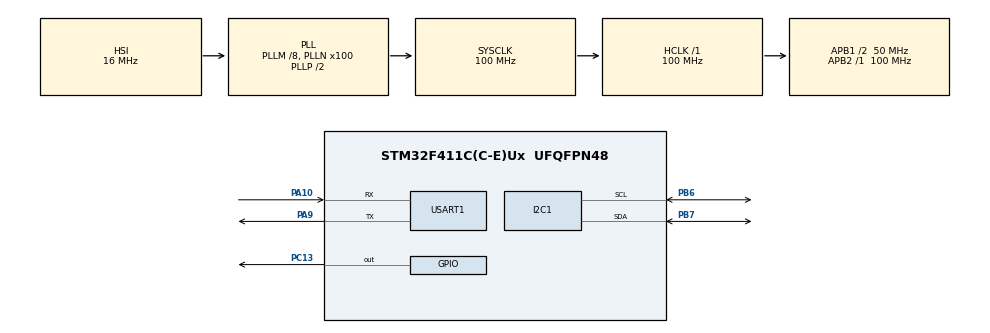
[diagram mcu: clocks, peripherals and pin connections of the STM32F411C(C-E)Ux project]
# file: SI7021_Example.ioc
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Mcu.Family=STM32F4
Mcu.Name=STM32F411C(C-E)Ux
Mcu.Package=UFQFPN48
NVIC.PriorityGroup=NVIC_PRIORITYGROUP_4
PA10.Mode=Asynchronous
PA10.Signal=USART1_RX
PA13.Mode=Serial_Wire
PA13.Signal=SYS_JTMS-SWDIO
PA14.Mode=Serial_Wire
PA14.Signal=SYS_JTCK-SWCLK
PA9.Mode=Asynchronous
PA9.Signal=USART1_TX
PB6.Mode=I2C
PB6.Signal=I2C1_SCL
PB7.Mode=I2C
PB7.Signal=I2C1_SDA
PC13-ANTI_TAMP.Signal=GPIO_Output
PH0\ -\ OSC_IN.Mode=HSE-External-Oscillator
PH0\ -\ OSC_IN.Signal=RCC_OSC_IN
PH1\ -\ OSC_OUT.Mode=HSE-External-Oscillator
PH1\ -\ OSC_OUT.Signal=RCC_OSC_OUT
ProjectManager.HeapSize=0x200
ProjectManager.StackSize=0x400
ProjectManager.TargetToolchain=STM32CubeIDE
RCC.48MHZClocksFreq_Value=50000000
RCC.AHBFreq_Value=100000000
RCC.APB1CLKDivider=RCC_HCLK_DIV2
RCC.APB1Freq_Value=50000000
RCC.APB1TimFreq_Value=100000000
RCC.APB2Freq_Value=100000000
RCC.APB2TimFreq_Value=100000000
RCC.CortexFreq_Value=100000000
RCC.HCLKFreq_Value=100000000
RCC.HSE_VALUE=25000000
RCC.HSI_VALUE=16000000
RCC.LSE_VALUE=32768
RCC.PLLM=8
RCC.PLLN=100
RCC.SYSCLKFreq_VALUE=100000000
RCC.SYSCLKSource=RCC_SYSCLKSOURCE_PLLCLK
RCC.VCOOutputFreq_Value=200000000
USART1.VirtualMode=VM_ASYNC
board=custom

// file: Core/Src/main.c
/* USER CODE BEGIN Header */
/**
  ******************************************************************************
  * @file           : main.c
  * @brief          : Main program body
  ******************************************************************************
  * @attention
  *
  * Copyright (c) 2026 STMicroelectronics.
  * All rights reserved.
  *
  * This software is licensed under terms that can be found in the LICENSE file
  * in the root directory of this software component.
  * If no LICENSE file comes with this software, it is provided AS-IS.
  *
  ******************************************************************************
  */
/* USER CODE END Header */
#include "main.h"

/* USER CODE BEGIN Includes */
#include "SI7021.h"
#include "ANSII_Codes.h"
#include <stdio.h>
#include <stdlib.h>
/* USER CODE END Includes */

/* USER CODE BEGIN PD */
/* -- Parámetros de la batería de pruebas -- */
#define SI_MUESTRAS     10U        /**< Lecturas seguidas del test de muestras */
#define SI_SENTINEL     1000.0f    /**< Valor fuera de rango para detectar campos que Get no escribió */

/* Rango plausible: el de funcionamiento del sensor (la fórmula del datasheet puede pasarse un poco de 0-100 %HR) */
#define SI_TEMP_MIN     (-40.0f)
#define SI_TEMP_MAX     (125.0f)
#define SI_HUM_MIN      (-2.0f)
#define SI_HUM_MAX      (102.0f)
/* USER CODE END PD */

/* USER CODE BEGIN PM */
#define SI_CHECK(x)  do { if ((x) != SI7021_OK) { Error_Handler(); } } while (0)
/* Para los tests de error: la llamada debe devolver exactamente el estado esperado */
#define SI_EXPECT(x, st)  do { if ((x) != (st)) { Error_Handler(); } } while (0)

/* USER CODE END PM */

I2C_HandleTypeDef hi2c1;

UART_HandleTypeDef huart1;

/* USER CODE BEGIN PV */
SI7021_Status_t status;
/* USER CODE END PV */

void SystemClock_Config(void);
static void MX_GPIO_Init(void);
static void MX_I2C1_Init(void);
static void MX_USART1_UART_Init(void);
/* USER CODE BEGIN PFP */
static void SI7021_CheckData(const SI7021_Data_t* d);
static void SI7021_CheckSinTocar(const SI7021_Data_t* d);
static void SI7021_Print(const SI7021_Data_t* d);
static void SI7021_TestSuite(void);
static void SI7021_TestPreInit(void);
static void SI7021_TestLectura(void);
static void SI7021_TestMuestras(void);
static void SI7021_TestErrores(void);
static void SI7021_TestDeInit(void);
/* USER CODE END PFP */

int main(void)
{

  /* MCU Configuration--------------------------------------------------------*/

  /* Reset of all peripherals, Initializes the Flash interface and the Systick. */
  HAL_Init();

  /* Configure the system clock */
  SystemClock_Config();

  /* Initialize all configured peripherals */
  MX_GPIO_Init();
  MX_I2C1_Init();
  MX_USART1_UART_Init();
  /* USER CODE BEGIN 2 */
  printf(CLEAR_SCREEN CURSOR_HOME COLOR_BOLD COLOR_CYAN "SI7021 TEST" COLOR_RESET "\r\n");
  SI7021_TestPreInit();

  status = SI7021_Init(&hi2c1);
  if(status != SI7021_OK)
  {
	  Error_Handler();
  }
  else
  {
	  HAL_GPIO_WritePin(GPIOC, GPIO_PIN_13, GPIO_PIN_RESET);
  }
  /* USER CODE END 2 */

  /* Infinite loop */
  /* USER CODE BEGIN WHILE */
  while (1)
  {
	  SI7021_TestSuite();
    /* USER CODE END WHILE */

  }
}

void SystemClock_Config(void)
{
  RCC_OscInitTypeDef RCC_OscInitStruct = {0};
  RCC_ClkInitTypeDef RCC_ClkInitStruct = {0};

  /** Configure the main internal regulator output voltage
  */
  __HAL_RCC_PWR_CLK_ENABLE();
  __HAL_PWR_VOLTAGESCALING_CONFIG(PWR_REGULATOR_VOLTAGE_SCALE1);

  /** Initializes the RCC Oscillators according to the specified parameters
  * in the RCC_OscInitTypeDef structure.
  */
  RCC_OscInitStruct.OscillatorType = RCC_OSCILLATORTYPE_HSI;
  RCC_OscInitStruct.HSIState = RCC_HSI_ON;
  RCC_OscInitStruct.HSICalibrationValue = RCC_HSICALIBRATION_DEFAULT;
  RCC_OscInitStruct.PLL.PLLState = RCC_PLL_ON;
  RCC_OscInitStruct.PLL.PLLSource = RCC_PLLSOURCE_HSI;
  RCC_OscInitStruct.PLL.PLLM = 8;
  RCC_OscInitStruct.PLL.PLLN = 100;
  RCC_OscInitStruct.PLL.PLLP = RCC_PLLP_DIV2;
  RCC_OscInitStruct.PLL.PLLQ = 4;
  if (HAL_RCC_OscConfig(&RCC_OscInitStruct) != HAL_OK)
  {
    Error_Handler();
  }

  /** Initializes the CPU, AHB and APB buses clocks
  */
  RCC_ClkInitStruct.ClockType = RCC_CLOCKTYPE_HCLK|RCC_CLOCKTYPE_SYSCLK
                              |RCC_CLOCKTYPE_PCLK1|RCC_CLOCKTYPE_PCLK2;
  RCC_ClkInitStruct.SYSCLKSource = RCC_SYSCLKSOURCE_PLLCLK;
  RCC_ClkInitStruct.AHBCLKDivider = RCC_SYSCLK_DIV1;
  RCC_ClkInitStruct.APB1CLKDivider = RCC_HCLK_DIV2;
  RCC_ClkInitStruct.APB2CLKDivider = RCC_HCLK_DIV1;

  if (HAL_RCC_ClockConfig(&RCC_ClkInitStruct, FLASH_LATENCY_3) != HAL_OK)
  {
    Error_Handler();
  }
}

static void MX_I2C1_Init(void)
{

  hi2c1.Instance = I2C1;
  hi2c1.Init.ClockSpeed = 100000;
  hi2c1.Init.DutyCycle = I2C_DUTYCYCLE_2;
  hi2c1.Init.OwnAddress1 = 0;
  hi2c1.Init.AddressingMode = I2C_ADDRESSINGMODE_7BIT;
  hi2c1.Init.DualAddressMode = I2C_DUALADDRESS_DISABLE;
  hi2c1.Init.OwnAddress2 = 0;
  hi2c1.Init.GeneralCallMode = I2C_GENERALCALL_DISABLE;
  hi2c1.Init.NoStretchMode = I2C_NOSTRETCH_DISABLE;
  if (HAL_I2C_Init(&hi2c1) != HAL_OK)
  {
    Error_Handler();
  }

}

static void MX_USART1_UART_Init(void)
{

  huart1.Instance = USART1;
  huart1.Init.BaudRate = 115200;
  huart1.Init.WordLength = UART_WORDLENGTH_8B;
  huart1.Init.StopBits = UART_STOPBITS_1;
  huart1.Init.Parity = UART_PARITY_NONE;
  huart1.Init.Mode = UART_MODE_TX_RX;
  huart1.Init.HwFlowCtl = UART_HWCONTROL_NONE;
  huart1.Init.OverSampling = UART_OVERSAMPLING_16;
  if (HAL_UART_Init(&huart1) != HAL_OK)
  {
    Error_Handler();
  }

}

static void MX_GPIO_Init(void)
{
  GPIO_InitTypeDef GPIO_InitStruct = {0};

  /* GPIO Ports Clock Enable */
  __HAL_RCC_GPIOC_CLK_ENABLE();
  __HAL_RCC_GPIOH_CLK_ENABLE();
  __HAL_RCC_GPIOA_CLK_ENABLE();
  __HAL_RCC_GPIOB_CLK_ENABLE();

  /*Configure GPIO pin Output Level */
  HAL_GPIO_WritePin(GPIOC, GPIO_PIN_13, GPIO_PIN_RESET);

  /*Configure GPIO pin : PC13 */
  GPIO_InitStruct.Pin = GPIO_PIN_13;
  GPIO_InitStruct.Mode = GPIO_MODE_OUTPUT_PP;
  GPIO_InitStruct.Pull = GPIO_NOPULL;
  GPIO_InitStruct.Speed = GPIO_SPEED_FREQ_LOW;
  HAL_GPIO_Init(GPIOC, &GPIO_InitStruct);

}

/* USER CODE BEGIN 4 */

/* printf por USART1 (PA9): syscalls.c redirige _write a esta función débil */
int __io_putchar(int ch)
{
	uint8_t c = (uint8_t)ch;
	HAL_UART_Transmit(&huart1, &c, 1, HAL_MAX_DELAY);
	return ch;
}

/* La lectura debe caer en el rango del sensor; el centinela (fuera de rango) delata un campo sin escribir */
static void SI7021_CheckData(const SI7021_Data_t* d)
{
	if (d->temperatura < SI_TEMP_MIN || d->temperatura > SI_TEMP_MAX ||
		d->humedad < SI_HUM_MIN || d->humedad > SI_HUM_MAX)
	{
		Error_Handler();
	}
}

/* Tras un Get rechazado la estructura debe seguir intacta */
static void SI7021_CheckSinTocar(const SI7021_Data_t* d)
{
	if (d->temperatura != SI_SENTINEL || d->humedad != SI_SENTINEL)
	{
		Error_Handler();
	}
}

/* El proyecto no enlaza -u _printf_float: se imprime en centésimas con enteros */
static void SI7021_Print(const SI7021_Data_t* d)
{
	const int32_t t = (int32_t)(d->temperatura * 100.0f);
	const int32_t h = (int32_t)(d->humedad * 100.0f);

	printf("T = %s%ld.%02ld C | HR = %s%ld.%02ld %%\r\n",
		   (t < 0) ? "-" : "", labs(t) / 100, labs(t) % 100,
		   (h < 0) ? "-" : "", labs(h) / 100, labs(h) % 100);
}

static void SI7021_TestSuite(void)
{
	SI7021_TestLectura();
	HAL_Delay(2000);

	SI7021_TestMuestras();
	HAL_Delay(2000);

	SI7021_TestErrores();
	HAL_Delay(2000);

	SI7021_TestDeInit();
	HAL_Delay(2000);
}

static void SI7021_TestPreInit(void)
{
	SI7021_Data_t data = { SI_SENTINEL, SI_SENTINEL };

	/* -- Antes de Init: Get devuelve NOT_INITIALIZED sin tocar el bus ni la estructura -- */
	SI_EXPECT(SI7021_Get(&data), SI7021_NOT_INITIALIZED);
	SI7021_CheckSinTocar(&data);

	/* DeInit sobre un driver sin inicializar es inofensivo */
	SI_CHECK(SI7021_DeInit());
}

static void SI7021_TestLectura(void)
{
	SI7021_Data_t data = { SI_SENTINEL, SI_SENTINEL };

	/* -- Lectura única: Get rellena temperatura y humedad con valores plausibles -- */
	printf(COLOR_YELLOW "[Lectura]" COLOR_RESET "\r\n");
	SI_CHECK(SI7021_Get(&data));
	SI7021_CheckData(&data);
	SI7021_Print(&data);
}

static void SI7021_TestMuestras(void)
{
	SI7021_Data_t data;

	/* -- Lecturas seguidas cada ~0.5 s: ninguna debe fallar ni salirse de rango.
	 *    Si soplas o acercas un dedo al sensor, la humedad y la temperatura deben subir -- */
	printf(COLOR_YELLOW "[Muestras]" COLOR_RESET "\r\n");
	for (uint8_t i = 1; i <= SI_MUESTRAS; i++)
	{
		data.temperatura = SI_SENTINEL;
		data.humedad     = SI_SENTINEL;
		SI_CHECK(SI7021_Get(&data));
		SI7021_CheckData(&data);
		printf("%2u/%u  ", i, SI_MUESTRAS);
		SI7021_Print(&data);
		HAL_Delay(500);
	}
}

static void SI7021_TestErrores(void)
{
	SI7021_Data_t data = { SI_SENTINEL, SI_SENTINEL };

	/* -- Get con puntero NULL -- */
	printf(COLOR_YELLOW "[Errores]" COLOR_RESET "\r\n");
	SI_EXPECT(SI7021_Get(NULL), SI7021_INVALID_PARAM);

	/* -- Init con handle NULL: se rechaza antes de tocar el estado, el driver sigue funcionando -- */
	SI_EXPECT(SI7021_Init(NULL), SI7021_INVALID_PARAM);
	SI_CHECK(SI7021_Get(&data));
	SI7021_CheckData(&data);
	printf(COLOR_GREEN "Errores OK" COLOR_RESET "\r\n");
}

static void SI7021_TestDeInit(void)
{
	SI7021_Data_t data = { SI_SENTINEL, SI_SENTINEL };

	/* -- DeInit libera el handle: las llamadas posteriores deben devolver NOT_INITIALIZED
	 *    sin tocar el bus ni la estructura. Repetirlo sigue devolviendo OK -- */
	printf(COLOR_YELLOW "[DeInit]" COLOR_RESET "\r\n");
	SI_CHECK(SI7021_DeInit());
	SI_CHECK(SI7021_DeInit());
	SI_EXPECT(SI7021_Get(&data), SI7021_NOT_INITIALIZED);
	SI7021_CheckSinTocar(&data);

	/* -- Re-Init: el driver debe poder arrancar de nuevo tras un DeInit -- */
	SI_CHECK(SI7021_Init(&hi2c1));
	SI_CHECK(SI7021_Get(&data));
	SI7021_CheckData(&data);

	/* -- Init sobre un driver ya inicializado: reenvía el reset y sigue funcionando -- */
	data.temperatura = SI_SENTINEL;
	data.humedad     = SI_SENTINEL;
	SI_CHECK(SI7021_Init(&hi2c1));
	SI_CHECK(SI7021_Get(&data));
	SI7021_CheckData(&data);
	printf(COLOR_GREEN "Re-Init OK" COLOR_RESET "\r\n");
}

/* USER CODE END 4 */

void Error_Handler(void)
{
  /* USER CODE BEGIN Error_Handler_Debug */
  /* User can add his own implementation to report the HAL error return state */
  /* Si la UART aún no está inicializada, HAL_UART_Transmit devuelve BUSY sin bloquear */
  printf(COLOR_BOLD COLOR_RED "\r\nERROR: prueba fallida" COLOR_RESET "\r\n");
  while (1)
  {
	  HAL_GPIO_TogglePin(GPIOC, GPIO_PIN_13);
	  HAL_Delay(200);
  }
  /* USER CODE END Error_Handler_Debug */
}
